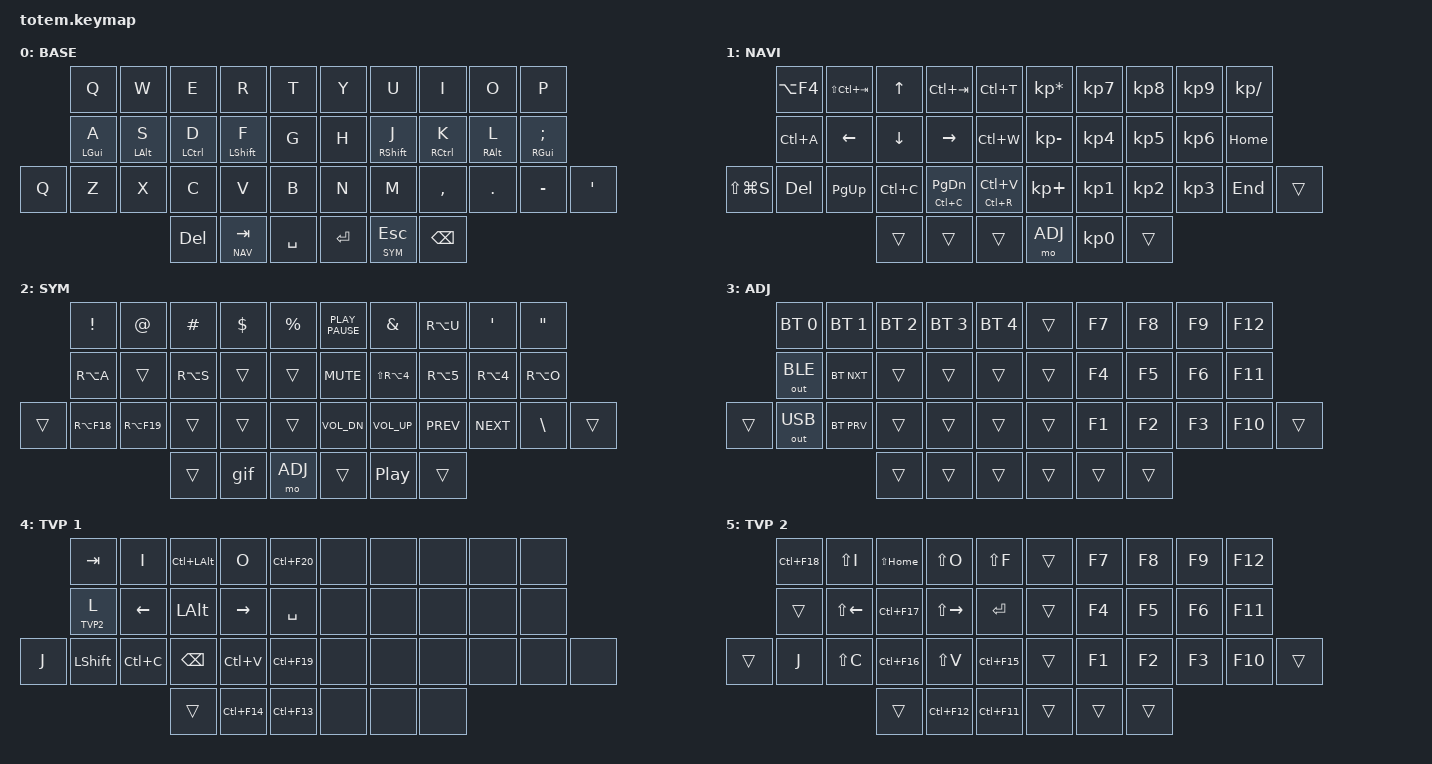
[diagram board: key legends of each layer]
//
//                                                        ▀▀▀▀▀     ▀▀▀▀▀          ▀▀█▀▀
//                                                        ▄▀▀▀▄  ▄  ▄▀▀▀▄  ▄  ▄▀▀▀▄  █  ▄▀▀▀▄
//                                                        █   █  █  █   █  █  █   █  █  █   █
//                                                         ▀▀▀   █   ▀▀▀   █   ▀▀▀   ▀   ▀▀▀
//                                                               █      ▄▄▄█▄▄▄    █   █  
//                                                               ▀      █  █  █     █▄█
//                                                             ▀▀▀▀▀    █  █  █      ▀
//                                                                      ▀  ▀  ▀
//
// ▄▄▄▄▄▄▄▄▄▄▄▄▄▄▄▄▄▄▄▄▄▄▄▄▄▄▄▄▄▄▄▄▄▄▄▄▄▄▄▄▄▄▄▄▄▄▄▄▄▄▄▄▄▄▄▄▄▄▄▄▄▄▄▄▄▄▄▄▄▄▄▄▄▄▄▄▄▄▄▄▄▄▄▄▄▄▄▄▄▄▄▄▄▄▄▄▄▄▄▄▄▄▄▄▄▄▄▄▄▄▄▄▄▄▄▄▄▄▄▄▄▄▄▄▄▄▄▄▄▄▄▄▄▄▄▄▄▄▄▄▄▄▄▄▄▄▄▄▄

#include <behaviors.dtsi>
#include <dt-bindings/zmk/bt.h>
#include <dt-bindings/zmk/keys.h>
#include <dt-bindings/zmk/outputs.h>

#define BASE 0
#define NAV  1
#define SYM  2
#define ADJ  3
#define TVP1 4
#define TVP2 5

&mt {
    quick-tap-ms = <100>;
    global-quick-tap;
    flavor = "tap-preferred";
    tapping-term-ms = <170>;
};

/ {
    combos {
        compatible = "zmk,combos";

        combo_esc {
            timeout-ms = <50>;
            key-positions = <0 1>;
            bindings = <&kp ESC>;
        };

        combo_tvp1 {
            timeout-ms = <100>;
            key-positions = <11 12 13>;
            bindings = <&tog TVP1>;
        };

        combo_tvp2 {
            bindings = <&tog 5>;
            key-positions = <16 17 18>;
            timeout-ms = <100>;
        };

        combo_altf4 {
            bindings = <&kp LA(F4)>;
            key-positions = <34 35>;
        };

        combo_GUI_v {
            bindings = <&kp LG(V)>;
            key-positions = <24 25>;
        };

        combo_GUI_c {
            bindings = <&kp LC(C)>;
            key-positions = <24 23>;
        };

        combo_GUI_x {
            bindings = <&kp LC(X)>;
            key-positions = <23 22>;
        };

        Combo_SPC {
            bindings = <&SPC>;
            key-positions = <5 6>;
        };

        Combo_SPC_2 {
            bindings = <&SPC_2>;
            key-positions = <6 7>;
        };

        Combo_Google {
            bindings = <&Google>;
            key-positions = <8 9>;
        };
    };

    macros {
        SPC: SPC {
            compatible = "zmk,behavior-macro";
            #binding-cells = <0>;
            bindings = <&kp LC(T) &kp S &kp P &kp C &kp SPACE &kp LC(V) &kp KP_ENTER>;
            label = "SPC";
        };

        SPC_2: SPC_2 {
            compatible = "zmk,behavior-macro";
            #binding-cells = <0>;
            bindings = <&kp LC(L) &kp S &kp P &kp C &kp SPACE &kp LC(V) &kp KP_ENTER>;
            label = "SPC_2";
        };

        Google: Google {
            compatible = "zmk,behavior-macro";
            #binding-cells = <0>;
            bindings = <&kp LC(L) &kp G &kp O &kp O &kp G &kp L &kp E &kp DOT &kp C &kp O &kp M &kp RET>;
            label = "GOOGLE";
        };
    };

    keymap {
        compatible = "zmk,keymap";

        // ▄▄▄▄▄▄▄▄▄▄▄▄▄▄▄▄▄▄▄▄▄▄▄▄▄▄▄▄▄▄▄▄▄▄▄▄▄▄▄▄▄▄▄▄▄▄▄▄▄▄▄▄▄▄▄▄▄▄▄▄▄▄▄▄▄▄▄▄▄▄▄▄▄▄▄▄▄▄▄▄▄▄▄▄▄▄▄▄▄▄▄▄▄▄▄▄▄▄▄▄▄▄▄▄▄▄▄▄▄▄▄▄▄▄▄▄▄▄▄▄▄▄▄▄▄▄▄▄▄▄▄▄▄▄▄▄▄▄▄▄▄▄▄▄▄▄▄▄▄

        base_layer {
            // ┏━━━━━━━━━━━━━━━━━━━━━━━━━━━━━━━━━━━━━━━┓

            label = "BASE";

            // ┗━━━━━━━━━━━━━━━━━━━━━━━━━━━━━━━━━━━━━━━┛
            //             ┏━━━━━━━━━━━┳━━━━━━━━━━━┳━━━━━━━━━━━┳━━━━━━━━━━━┳━━━━━━━━━━━┓   ┏━━━━━━━━━━━┳━━━━━━━━━━━┳━━━━━━━━━━━┳━━━━━━━━━━━┳━━━━━━━━━━━┓
            //             ┃     Q     ┃     W     ┃     F     ┃     P     ┃     G     ┃   ┃     J     ┃     L     ┃     U     ┃     Y     ┃     ;     ┃
            //             ┣━━━━━━━━━━━╋━━━━━━━━━━━╋━━━━━━━━━━━╋━━━━━━━━━━━╋━━━━━━━━━━━┫   ┣━━━━━━━━━━━╋━━━━━━━━━━━╋━━━━━━━━━━━╋━━━━━━━━━━━╋━━━━━━━━━━━┫
            //             ┃     A     ┃     R     ┃     S     ┃     T     ┃     D     ┃   ┃     H     ┃     N     ┃     E     ┃     I     ┃     O     ┃
            // ┏━━━━━━━━━━━╋━━━━━━━━━━━╋━━━━━━━━━━━╋━━━━━━━━━━━╋━━━━━━━━━━━╋━━━━━━━━━━━┫   ┣━━━━━━━━━━━╋━━━━━━━━━━━╋━━━━━━━━━━━╋━━━━━━━━━━━╋━━━━━━━━━━━╋━━━━━━━━━━━┓
            // ┃     Q     ┃     Z     ┃     X     ┃     C     ┃     V     ┃     B     ┃   ┃     K     ┃     M     ┃     ,     ┃     .     ┃     /     ┃     \     ┃
            // ┗━━━━━━━━━━━┻━━━━━━━━━━━┻━━━━━━━━━━━╋━━━━━━━━━━━╋━━━━━━━━━━━╋━━━━━━━━━━━┫   ┣━━━━━━━━━━━╋━━━━━━━━━━━╋━━━━━━━━━━━╋━━━━━━━━━━━┻━━━━━━━━━━━┻━━━━━━━━━━━┛
            //                                     ┃    DEL    ┃    TAB    ┃    SPC    ┃   ┃   ENTER   ┃           ┃   BSPC    ┃
            //                                     ┗━━━━━━━━━━━┻━━━━━━━━━━━┻━━━━━━━━━━━┛   ┗━━━━━━━━━━━┻━━━━━━━━━━━┻━━━━━━━━━━━┛

            bindings = <
       &kp Q       &kp W       &kp E        &kp R        &kp T        &kp Y    &kp U        &kp I        &kp O       &kp P
       &mt LGUI A  &mt LALT S  &mt LCTRL D  &mt LSHFT F  &kp G        &kp H    &mt RSHFT J  &mt RCTRL K  &mt RALT L  &mt RGUI SEMICOLON
&kp Q  &kp Z       &kp X       &kp C        &kp V        &kp B        &kp N    &kp M        &kp COMMA    &kp DOT     &kp MINUS           &kp SQT
                               &kp DEL      &lt NAV TAB  &kp SPACE    &kp RET  &lt SYM ESC  &kp BSPC
            >;
        };

        // ▄▄▄▄▄▄▄▄▄▄▄▄▄▄▄▄▄▄▄▄▄▄▄▄▄▄▄▄▄▄▄▄▄▄▄▄▄▄▄▄▄▄▄▄▄▄▄▄▄▄▄▄▄▄▄▄▄▄▄▄▄▄▄▄▄▄▄▄▄▄▄▄▄▄▄▄▄▄▄▄▄▄▄▄▄▄▄▄▄▄▄▄▄▄▄▄▄▄▄▄▄▄▄▄▄▄▄▄▄▄▄▄▄▄▄▄▄▄▄▄▄▄▄▄▄▄▄▄▄▄▄▄▄▄▄▄▄▄▄▄▄▄▄▄▄▄▄▄▄

        nav_layer {
            // ┏━━━━━━━━━━━━━━━━━━━━━━━━━━━━━━━━━━━━━━━┓

            label = "NAVI";

            // ┗━━━━━━━━━━━━━━━━━━━━━━━━━━━━━━━━━━━━━━━┛
            //             ┏━━━━━━━━━━━┳━━━━━━━━━━━┳━━━━━━━━━━━┳━━━━━━━━━━━┳━━━━━━━━━━━┓   ┏━━━━━━━━━━━┳━━━━━━━━━━━┳━━━━━━━━━━━┳━━━━━━━━━━━┳━━━━━━━━━━━┓
            //             ┃           ┃           ┃     UP    ┃           ┃     {     ┃   ┃     }     ┃     7     ┃     8     ┃     9     ┃     +     ┃
            //             ┣━━━━━━━━━━━╋━━━━━━━━━━━╋━━━━━━━━━━━╋━━━━━━━━━━━╋━━━━━━━━━━━┫   ┣━━━━━━━━━━━╋━━━━━━━━━━━╋━━━━━━━━━━━╋━━━━━━━━━━━╋━━━━━━━━━━━┫
            //             ┃   SHIFT   ┃   LEFT    ┃    DOWN   ┃   RIGHT   ┃     [     ┃   ┃     ]     ┃     4     ┃     5     ┃     6     ┃     -     ┃
            // ┏━━━━━━━━━━━╋━━━━━━━━━━━╋━━━━━━━━━━━╋━━━━━━━━━━━╋━━━━━━━━━━━╋━━━━━━━━━━━┫   ┣━━━━━━━━━━━╋━━━━━━━━━━━╋━━━━━━━━━━━╋━━━━━━━━━━━╋━━━━━━━━━━━╋━━━━━━━━━━━┓
            // ┃           ┃           ┃   P UP    ┃  C LOCK   ┃  P DOWN   ┃     (     ┃   ┃     )     ┃     1     ┃     2     ┃     3     ┃     *     ┃           ┃
            // ┗━━━━━━━━━━━┻━━━━━━━━━━━┻━━━━━━━━━━━╋━━━━━━━━━━━╋━━━━━━━━━━━╋━━━━━━━━━━━┫   ┣━━━━━━━━━━━╋━━━━━━━━━━━╋━━━━━━━━━━━╋━━━━━━━━━━━┻━━━━━━━━━━━┻━━━━━━━━━━━┛
            //                                     ┃           ┃    TAB    ┃    SPC    ┃   ┃    DEL    ┃     0     ┃           ┃
            //                                     ┗━━━━━━━━━━━┻━━━━━━━━━━━┻━━━━━━━━━━━┛   ┗━━━━━━━━━━━┻━━━━━━━━━━━┻━━━━━━━━━━━┛

            bindings = <
               &kp LA(F4)  &kp LS(LC(TAB))  &kp UP     &kp LC(TAB)      &kp LC(T)          &kp KP_ASTERISK  &kp KP_N7  &kp KP_N8  &kp KP_N9  &kp KP_SLASH
               &kp LC(A)   &kp LEFT         &kp DOWN   &kp RIGHT        &kp LC(W)          &kp KP_MINUS     &kp KP_N4  &kp KP_N5  &kp KP_N6  &kp HOME
&kp LS(LG(S))  &kp DEL     &kp PG_UP        &kp LC(C)  &mt LC(C) PG_DN  &mt LC(R) LC(V)    &kp KP_PLUS      &kp KP_N1  &kp KP_N2  &kp KP_N3  &kp END       &trans
                                            &trans     &trans           &trans             &mo ADJ          &kp KP_N0  &trans
            >;
        };

        // ▄▄▄▄▄▄▄▄▄▄▄▄▄▄▄▄▄▄▄▄▄▄▄▄▄▄▄▄▄▄▄▄▄▄▄▄▄▄▄▄▄▄▄▄▄▄▄▄▄▄▄▄▄▄▄▄▄▄▄▄▄▄▄▄▄▄▄▄▄▄▄▄▄▄▄▄▄▄▄▄▄▄▄▄▄▄▄▄▄▄▄▄▄▄▄▄▄▄▄▄▄▄▄▄▄▄▄▄▄▄▄▄▄▄▄▄▄▄▄▄▄▄▄▄▄▄▄▄▄▄▄▄▄▄▄▄▄▄▄▄▄▄▄▄▄▄▄▄▄

        sim_layer {
            // ┏━━━━━━━━━━━━━━━━━━━━━━━━━━━━━━━━━━━━━━━┓

            label = "SYM";

            // ┗━━━━━━━━━━━━━━━━━━━━━━━━━━━━━━━━━━━━━━━┛
            //             ┏━━━━━━━━━━━┳━━━━━━━━━━━┳━━━━━━━━━━━┳━━━━━━━━━━━┳━━━━━━━━━━━┓   ┏━━━━━━━━━━━┳━━━━━━━━━━━┳━━━━━━━━━━━┳━━━━━━━━━━━┳━━━━━━━━━━━┓
            //             ┃     !     ┃     @     ┃     #     ┃     $     ┃     %     ┃   ┃     ˆ     ┃     &     ┃     Ü     ┃     '     ┃     "     ┃
            //             ┣━━━━━━━━━━━╋━━━━━━━━━━━╋━━━━━━━━━━━╋━━━━━━━━━━━╋━━━━━━━━━━━┫   ┣━━━━━━━━━━━╋━━━━━━━━━━━╋━━━━━━━━━━━╋━━━━━━━━━━━╋━━━━━━━━━━━┫
            //             ┃     Ä     ┃           ┃    SZ     ┃           ┃           ┃   ┃   MUTE    ┃   YEN     ┃   EURO    ┃  POUND    ┃     Ö     ┃
            // ┏━━━━━━━━━━━╋━━━━━━━━━━━╋━━━━━━━━━━━╋━━━━━━━━━━━╋━━━━━━━━━━━╋━━━━━━━━━━━┫   ┣━━━━━━━━━━━╋━━━━━━━━━━━╋━━━━━━━━━━━╋━━━━━━━━━━━╋━━━━━━━━━━━╋━━━━━━━━━━━┓
            // ┃           ┃  EMAIL1   ┃  EMAIL2   ┃           ┃           ┃           ┃   ┃   VOL-    ┃   VOL+    ┃   LAST    ┃   NEXT    ┃     \     ┃           ┃
            // ┗━━━━━━━━━━━┻━━━━━━━━━━━┻━━━━━━━━━━━╋━━━━━━━━━━━╋━━━━━━━━━━━╋━━━━━━━━━━━┫   ┣━━━━━━━━━━━╋━━━━━━━━━━━╋━━━━━━━━━━━╋━━━━━━━━━━━┻━━━━━━━━━━━┻━━━━━━━━━━━┛
            //                                     ┃           ┃    GIF    ┃    ADJ    ┃   ┃           ┃           ┃           ┃
            //                                     ┗━━━━━━━━━━━┻━━━━━━━━━━━┻━━━━━━━━━━━┛   ┗━━━━━━━━━━━┻━━━━━━━━━━━┻━━━━━━━━━━━┛

            bindings = <
        &kp EXCL     &kp AT       &kp HASH   &kp DLLR  &kp PRCNT    &kp K_PLAY_PAUSE  &kp AMPS        &kp RA(U)   &kp SQT     &kp DQT
        &kp RA(A)    &trans       &kp RA(S)  &trans    &trans       &kp C_MUTE        &kp LS(RA(N4))  &kp RA(N5)  &kp RA(N4)  &kp RA(O)
&trans  &kp RA(F18)  &kp RA(F19)  &trans     &trans    &trans       &kp C_VOL_DN      &kp C_VOL_UP    &kp C_PREV  &kp C_NEXT  &kp BSLH   &trans
                                  &trans     &gif      &mo ADJ      &trans            &kp C_PP        &trans
            >;
        };

        // ▄▄▄▄▄▄▄▄▄▄▄▄▄▄▄▄▄▄▄▄▄▄▄▄▄▄▄▄▄▄▄▄▄▄▄▄▄▄▄▄▄▄▄▄▄▄▄▄▄▄▄▄▄▄▄▄▄▄▄▄▄▄▄▄▄▄▄▄▄▄▄▄▄▄▄▄▄▄▄▄▄▄▄▄▄▄▄▄▄▄▄▄▄▄▄▄▄▄▄▄▄▄▄▄▄▄▄▄▄▄▄▄▄▄▄▄▄▄▄▄▄▄▄▄▄▄▄▄▄▄▄▄▄▄▄▄▄▄▄▄▄▄▄▄▄▄▄▄▄

        adjust_layer {
            // ┏━━━━━━━━━━━━━━━━━━━━━━━━━━━━━━━━━━━━━━━┓

            label = "ADJ";

            // ┗━━━━━━━━━━━━━━━━━━━━━━━━━━━━━━━━━━━━━━━┛
            //             ┏━━━━━━━━━━━┳━━━━━━━━━━━┳━━━━━━━━━━━┳━━━━━━━━━━━┳━━━━━━━━━━━┓   ┏━━━━━━━━━━━┳━━━━━━━━━━━┳━━━━━━━━━━━┳━━━━━━━━━━━┳━━━━━━━━━━━┓
            //             ┃   RESET   ┃ BT CLEAR  ┃  OUT TOG  ┃           ┃           ┃   ┃           ┃    F7     ┃    F8     ┃    F9     ┃    F12    ┃
            //             ┣━━━━━━━━━━━╋━━━━━━━━━━━╋━━━━━━━━━━━╋━━━━━━━━━━━╋━━━━━━━━━━━┫   ┣━━━━━━━━━━━╋━━━━━━━━━━━╋━━━━━━━━━━━╋━━━━━━━━━━━╋━━━━━━━━━━━┫
            //             ┃ BOOTLOAD  ┃ BT NEXT   ┃           ┃           ┃           ┃   ┃           ┃    F4     ┃    F5     ┃    F6     ┃    F11    ┃
            // ┏━━━━━━━━━━━╋━━━━━━━━━━━╋━━━━━━━━━━━╋━━━━━━━━━━━╋━━━━━━━━━━━╋━━━━━━━━━━━┫   ┣━━━━━━━━━━━╋━━━━━━━━━━━╋━━━━━━━━━━━╋━━━━━━━━━━━╋━━━━━━━━━━━╋━━━━━━━━━━━┓
            // ┃           ┃           ┃ BT PREV   ┃           ┃           ┃           ┃   ┃           ┃    F1     ┃    F2     ┃    F3     ┃    F10    ┃           ┃
            // ┗━━━━━━━━━━━┻━━━━━━━━━━━┻━━━━━━━━━━━╋━━━━━━━━━━━╋━━━━━━━━━━━╋━━━━━━━━━━━┫   ┣━━━━━━━━━━━╋━━━━━━━━━━━╋━━━━━━━━━━━╋━━━━━━━━━━━┻━━━━━━━━━━━┻━━━━━━━━━━━┛
            //                                     ┃           ┃           ┃           ┃   ┃           ┃           ┃           ┃
            //                                     ┗━━━━━━━━━━━┻━━━━━━━━━━━┻━━━━━━━━━━━┛   ┗━━━━━━━━━━━┻━━━━━━━━━━━┻━━━━━━━━━━━┛

            bindings = <
        &bt BT_SEL 0  &bt BT_SEL 1  &bt BT_SEL 2  &bt BT_SEL 3  &bt BT_SEL 4    &trans  &kp F7  &kp F8  &kp F9  &kp F12
        &out OUT_BLE  &bt BT_NXT    &trans        &trans        &trans          &trans  &kp F4  &kp F5  &kp F6  &kp F11
&trans  &out OUT_USB  &bt BT_PRV    &trans        &trans        &trans          &trans  &kp F1  &kp F2  &kp F3  &kp F10  &trans
                                    &trans        &trans        &trans          &trans  &trans  &trans
            >;
        };

        // ▄▄▄▄▄▄▄▄▄▄▄▄▄▄▄▄▄▄▄▄▄▄▄▄▄▄▄▄▄▄▄▄▄▄▄▄▄▄▄▄▄▄▄▄▄▄▄▄▄▄▄▄▄▄▄▄▄▄▄▄▄▄▄▄▄▄▄▄▄▄▄▄▄▄▄▄▄▄▄▄▄▄▄▄▄▄▄▄▄▄▄▄▄▄▄▄▄▄▄▄▄▄▄▄▄▄▄▄▄▄▄▄▄▄▄▄▄▄▄▄▄▄▄▄▄▄▄▄▄▄▄▄▄▄▄▄▄▄▄▄▄▄▄▄▄▄▄▄▄

        tvp1_layer {
            // ┏━━━━━━━━━━━━━━━━━━━━━━━━━━━━━━━━━━━━━━━┓

            label = "TVP 1";

            // ┗━━━━━━━━━━━━━━━━━━━━━━━━━━━━━━━━━━━━━━━┛
            //             ┏━━━━━━━━━━━┳━━━━━━━━━━━┳━━━━━━━━━━━┳━━━━━━━━━━━┳━━━━━━━━━━━┓   ┏━━━━━━━━━━━┳━━━━━━━━━━━┳━━━━━━━━━━━┳━━━━━━━━━━━┳━━━━━━━━━━━┓
            //             ┃ NEXT FILE ┃ MARK IN   ┃ ROTATE    ┃ MARK OUT  ┃ SHOW SNAP ┃   ┃           ┃           ┃           ┃           ┃           ┃
            //             ┣━━━━━━━━━━━╋━━━━━━━━━━━╋━━━━━━━━━━━╋━━━━━━━━━━━╋━━━━━━━━━━━┫   ┣━━━━━━━━━━━╋━━━━━━━━━━━╋━━━━━━━━━━━╋━━━━━━━━━━━╋━━━━━━━━━━━┫
            //             ┃ TVP II    ┃ LEFT      ┃ PAN       ┃ RIGHT     ┃ PLAY/FLIP ┃   ┃           ┃           ┃           ┃           ┃           ┃
            // ┏━━━━━━━━━━━╋━━━━━━━━━━━╋━━━━━━━━━━━╋━━━━━━━━━━━╋━━━━━━━━━━━╋━━━━━━━━━━━┫   ┣━━━━━━━━━━━╋━━━━━━━━━━━╋━━━━━━━━━━━╋━━━━━━━━━━━╋━━━━━━━━━━━╋━━━━━━━━━━━┓
            // ┃ FULLSCR   ┃ SHIFT     ┃ COPY      ┃ DELETE    ┃ PASTE     ┃ IMG MARK  ┃   ┃           ┃           ┃           ┃           ┃           ┃           ┃
            // ┗━━━━━━━━━━━┻━━━━━━━━━━━┻━━━━━━━━━━━╋━━━━━━━━━━━╋━━━━━━━━━━━╋━━━━━━━━━━━┫   ┣━━━━━━━━━━━╋━━━━━━━━━━━╋━━━━━━━━━━━╋━━━━━━━━━━━┻━━━━━━━━━━━┻━━━━━━━━━━━┛
            //                                     ┃           ┃ UNDO/SAVE ┃  SEL/MOV  ┃   ┃           ┃           ┃           ┃
            //                                     ┗━━━━━━━━━━━┻━━━━━━━━━━━┻━━━━━━━━━━━┛   ┗━━━━━━━━━━━┻━━━━━━━━━━━┻━━━━━━━━━━━┛

            bindings = <
       &kp TAB     &kp I      &kp LC(LALT)  &kp O        &kp LC(F20)    &none  &none  &none  &none  &none
       &lt TVP2 L  &kp LEFT   &kp LALT      &kp RIGHT    &kp SPACE      &none  &none  &none  &none  &none
&kp J  &kp LSHFT   &kp LC(C)  &kp BSPC      &kp LC(V)    &kp LC(F19)    &none  &none  &none  &none  &none  &none
                              &trans        &kp LC(F14)  &kp LC(F13)    &none  &none  &none
            >;
        };

        // ▄▄▄▄▄▄▄▄▄▄▄▄▄▄▄▄▄▄▄▄▄▄▄▄▄▄▄▄▄▄▄▄▄▄▄▄▄▄▄▄▄▄▄▄▄▄▄▄▄▄▄▄▄▄▄▄▄▄▄▄▄▄▄▄▄▄▄▄▄▄▄▄▄▄▄▄▄▄▄▄▄▄▄▄▄▄▄▄▄▄▄▄▄▄▄▄▄▄▄▄▄▄▄▄▄▄▄▄▄▄▄▄▄▄▄▄▄▄▄▄▄▄▄▄▄▄▄▄▄▄▄▄▄▄▄▄▄▄▄▄▄▄▄▄▄▄▄▄▄

        tvp2_layer {
            // ┏━━━━━━━━━━━━━━━━━━━━━━━━━━━━━━━━━━━━━━━┓

            label = "TVP 2";

            // ┗━━━━━━━━━━━━━━━━━━━━━━━━━━━━━━━━━━━━━━━┛
            //             ┏━━━━━━━━━━━┳━━━━━━━━━━━┳━━━━━━━━━━━┳━━━━━━━━━━━┳━━━━━━━━━━━┓   ┏━━━━━━━━━━━┳━━━━━━━━━━━┳━━━━━━━━━━━┳━━━━━━━━━━━┳━━━━━━━━━━━┓
            //             ┃ SOLO      ┃ TOGGLE IN ┃ RESET ROT ┃ TOGGLE OUT┃ TAKE SNAP ┃   ┃           ┃           ┃           ┃           ┃           ┃
            //             ┣━━━━━━━━━━━╋━━━━━━━━━━━╋━━━━━━━━━━━╋━━━━━━━━━━━╋━━━━━━━━━━━┫   ┣━━━━━━━━━━━╋━━━━━━━━━━━╋━━━━━━━━━━━╋━━━━━━━━━━━╋━━━━━━━━━━━┫
            //             ┃ ---       ┃ LAST KEY  ┃ NEW KEY   ┃ NEXT KEY  ┃ ENTER     ┃   ┃           ┃           ┃           ┃           ┃           ┃
            // ┏━━━━━━━━━━━╋━━━━━━━━━━━╋━━━━━━━━━━━╋━━━━━━━━━━━╋━━━━━━━━━━━╋━━━━━━━━━━━┫   ┣━━━━━━━━━━━╋━━━━━━━━━━━╋━━━━━━━━━━━╋━━━━━━━━━━━╋━━━━━━━━━━━╋━━━━━━━━━━━┓
            // ┃           ┃ FULLSCR   ┃ CPY2BRUSH ┃ DEL HEAD  ┃ PSTinPLACE┃ BOOK MARK ┃   ┃           ┃           ┃           ┃           ┃           ┃           ┃
            // ┗━━━━━━━━━━━┻━━━━━━━━━━━┻━━━━━━━━━━━╋━━━━━━━━━━━╋━━━━━━━━━━━╋━━━━━━━━━━━┫   ┣━━━━━━━━━━━╋━━━━━━━━━━━╋━━━━━━━━━━━╋━━━━━━━━━━━┻━━━━━━━━━━━┻━━━━━━━━━━━┛
            //                                     ┃           ┃ REDO/SAV1 ┃TRANS/WARP ┃   ┃           ┃           ┃           ┃
            //                                     ┗━━━━━━━━━━━┻━━━━━━━━━━━┻━━━━━━━━━━━┛   ┗━━━━━━━━━━━┻━━━━━━━━━━━┻━━━━━━━━━━━┛

            bindings = <
        &kp LC(F18)  &kp LS(I)     &kp LS(HOME)  &kp LS(O)      &kp LS(F)      &trans  &kp F7  &kp F8  &kp F9  &kp F12
        &trans       &kp LS(LEFT)  &kp LC(F17)   &kp LS(RIGHT)  &kp RET        &trans  &kp F4  &kp F5  &kp F6  &kp F11
&trans  &kp J        &kp LS(C)     &kp LC(F16)   &kp LS(V)      &kp LC(F15)    &trans  &kp F1  &kp F2  &kp F3  &kp F10  &trans
                                   &trans        &kp LC(F12)    &kp LC(F11)    &trans  &trans  &trans
            >;
        };
    };
};
